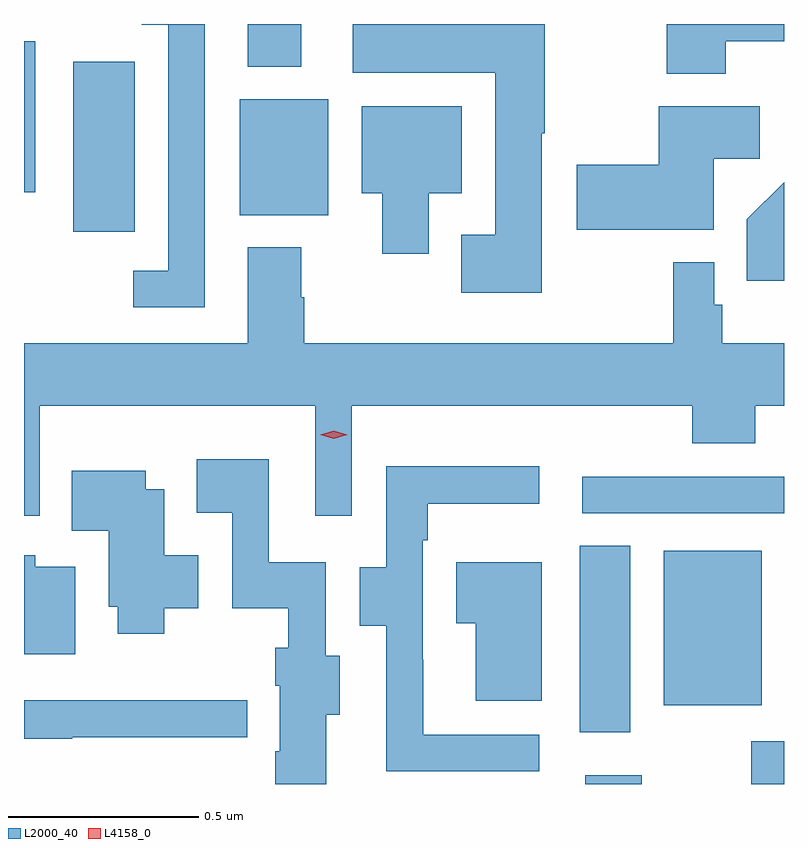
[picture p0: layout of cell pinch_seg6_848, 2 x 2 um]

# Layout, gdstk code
import gdstk
lib = gdstk.Library(unit=1e-6, precision=1e-09)
def R(c, l, rs):  # rectangles x0, y0, x1, y1
    for r in rs: c.add(gdstk.rectangle(r[:2], r[2:], *l))
def P(c, l, *ps):  # polygons
    for p in ps: c.add(gdstk.Polygon(p, *l))
L2000_40 = (2000, 40)
L4158_0 = (4158, 0)

pinch_seg6_848 = lib.new_cell('pinch_seg6_848')
R(pinch_seg6_848, L2000_40, [(143.621,962.324,143.769,962.347), (144.058,962.324,144.144,962.436), (143.606,962.46,143.74,962.951), (143.828,962.531,144.085,962.938), (143.613,963.036,144.144,963.132), (142.274,963.777,142.435,964.225), (142.712,963.821,142.945,964.126), (142.144,963.881,142.174,964.279), (142.733,964.211,142.873,964.324)])
P(pinch_seg6_848, L2000_40, [(143.506,964.036),(143.514,964.036),(143.514,964.324),(143.009,964.324),(143.009,964.196),(143.384,964.196),(143.384,963.769),(143.294,963.769),(143.294,963.617),(143.506,963.617)],
  [(143.991,964.278),(144.144,964.278),(144.144,964.324),(143.836,964.324),(143.836,964.193),(143.991,964.193)],
  [(142.62,964.324),(142.454,964.324),(142.454,964.322),(142.524,964.322),(142.524,963.675),(142.431,963.675),(142.431,963.579),(142.62,963.579)],
  [(143.959,963.97),(144.08,963.97),(144.08,964.108),(143.815,964.108),(143.815,963.953),(143.598,963.953),(143.598,963.782),(143.959,963.782)],
  [(143.209,963.878),(143.296,963.878),(143.296,964.108),(143.033,964.108),(143.033,963.878),(143.087,963.878),(143.087,963.72),(143.209,963.72)],
  [(144.144,963.908),(144.046,963.81),(144.046,963.648),(144.144,963.648)],
  [(142.185,963.32),(142.911,963.32),(142.911,963.03),(143.007,963.03),(143.007,963.32),(143.903,963.32),(143.903,963.221),(144.068,963.221),(144.068,963.32),(144.144,963.32),(144.144,963.484),(143.981,963.484),(143.981,963.585),(143.961,963.585),(143.961,963.697),(143.853,963.697),(143.853,963.484),(142.881,963.484),(142.881,963.605),(142.873,963.605),(142.873,963.736),(142.733,963.736),(142.733,963.484),(142.144,963.484),(142.144,963.03),(142.185,963.03)],
  [(142.939,962.506),(142.975,962.506),(142.975,962.661),(142.938,962.661),(142.938,962.908),(142.788,962.908),(142.788,963.178),(142.599,963.178),(142.599,963.038),(142.692,963.038),(142.692,962.786),(142.84,962.786),(142.84,962.682),(142.805,962.682),(142.805,962.582),(142.817,962.582),(142.817,962.41),(142.805,962.41),(142.805,962.324),(142.939,962.324)],
  [(143.5,962.454),(143.194,962.454),(143.194,962.651),(143.193,962.651),(143.193,962.966),(143.206,962.966),(143.206,963.062),(143.5,963.062),(143.5,963.16),(143.097,963.16),(143.097,962.895),(143.027,962.895),(143.027,962.74),(143.097,962.74),(143.097,962.358),(143.5,962.358)],
  [(142.513,962.786),(142.603,962.786),(142.603,962.926),(142.513,962.926),(142.513,963.1),(142.465,963.1),(142.465,963.148),(142.27,963.148),(142.27,962.99),(142.367,962.99),(142.367,962.79),(142.391,962.79),(142.391,962.72),(142.513,962.72)],
  [(142.279,962.896),(142.174,962.896),(142.174,962.926),(142.144,962.926),(142.144,962.666),(142.279,962.666)],
  [(143.506,962.908),(143.282,962.908),(143.282,962.747),(143.333,962.747),(143.333,962.543),(143.506,962.543)],
  [(142.271,962.447),(142.732,962.447),(142.732,962.545),(142.375,962.545),(142.375,962.544),(142.144,962.544),(142.144,962.443),(142.271,962.443)])
P(pinch_seg6_848, L4158_0, [(142.959,963.233),(142.924,963.243),(142.923,963.243),(142.924,963.243),(142.959,963.253),(142.994,963.243),(142.995,963.243),(142.994,963.243)])

lib.write_gds('pinch_seg6_848.gds')
